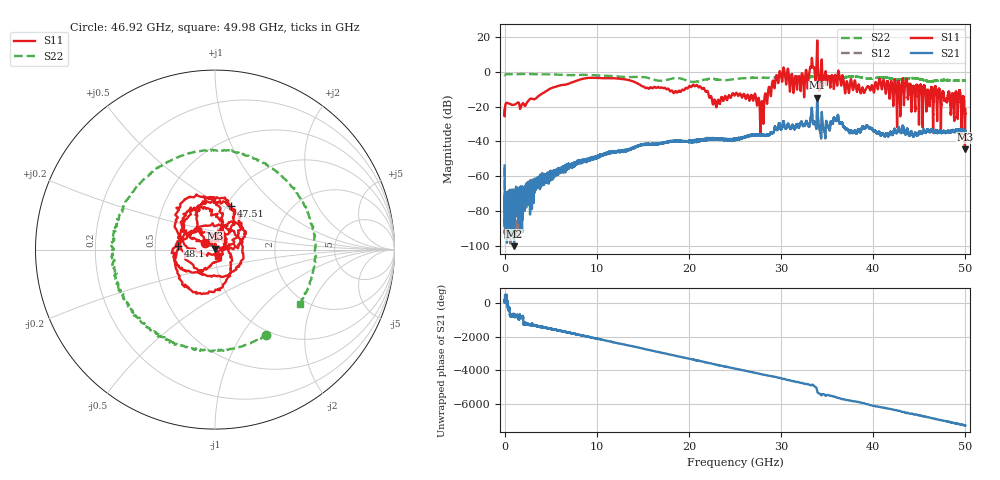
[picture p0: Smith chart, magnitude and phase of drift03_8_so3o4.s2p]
!Created with skrf (http://scikit-rf.org).
# Hz S RI R 50.0
!freq ReS11 ImS11 ReS21 ImS21 ReS12 ImS12 ReS22 ImS22
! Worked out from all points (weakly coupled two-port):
!   10001 points, 300 kHz to 50 GHz, reference 50 ohm
!   highest |S21| = -14.93 dB at 33.92 GHz (marker M1); lowest = -99.9 dB at 1.03 GHz (marker M2)
!   lowest |S11| = -44.5 dB at 49.95 GHz (marker M3), VSWR 1.01, Z = 49.9 + j0.591 ohm
!   |S11| at or under -10 dB: start of sweep to 4.852 GHz; 21.69 GHz to 28.62 GHz (6.935 GHz wide, 27.6 % of centre); 47.18 GHz to end of sweep (the widest 3 of 42)
!   |S22| runs from -5.9 to -1.3 dB; largest |S21 - S12| = 0.022
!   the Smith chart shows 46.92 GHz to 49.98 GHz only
!   S11 on the Smith chart (normalised r, x): 46.92 GHz: 0.90, +0.07; 47.51 GHz: 1.05, +0.54; 48.1 GHz: 0.66, +0.03; 49.98 GHz: 1.03, -0.07
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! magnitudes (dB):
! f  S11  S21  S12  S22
! 300 kHz  -21.9  -53.7  -55.0  -2.1
! 260.3 MHz  -17.9  -97.9  -72.3  -1.4
! 1.03 GHz  -18.9  -99.9  -69.3  -1.5
! 8.335 GHz  -4.3  -51.4  -51.2  -1.9
! 16.67 GHz  -8.8  -41.5  -41.4  -5.2
! 21.01 GHz  -8.8  -39.3  -39.4  -5.5
! 22.81 GHz  -16.2  -38.7  -38.6  -4.3
! 25 GHz  -13.4  -39.0  -38.7  -4.2
! 27.02 GHz  -15.8  -36.5  -36.3  -3.5
! 27.92 GHz  -17.2  -36.4  -36.4  -3.5
! 29.69 GHz  -6.5  -32.3  -31.7  -3.1
! 32.32 GHz  -1.5  -30.5  -30.7  -3.3
! 33.34 GHz  7.7  -20.6  -21.0  -3.0
! 33.92 GHz  17.8  -14.9  -15.3  -2.4
! 37.16 GHz  -5.7  -32.9  -33.0  -3.2
! 41.67 GHz  -9.0  -36.8  -36.8  -3.7
! 46.92 GHz  -23.7  -34.6  -34.7  -5.1
! 47.51 GHz  -11.8  -34.2  -34.6  -4.9
! 48.1 GHz  -13.7  -33.6  -33.9  -4.8
! 49.95 GHz  -44.5  -33.6  -34.3  -5.0
! 49.98 GHz  -28.2  -34.3  -33.3  -5.0
! 50 GHz  -21.8  -33.8  -34.0  -5.0
